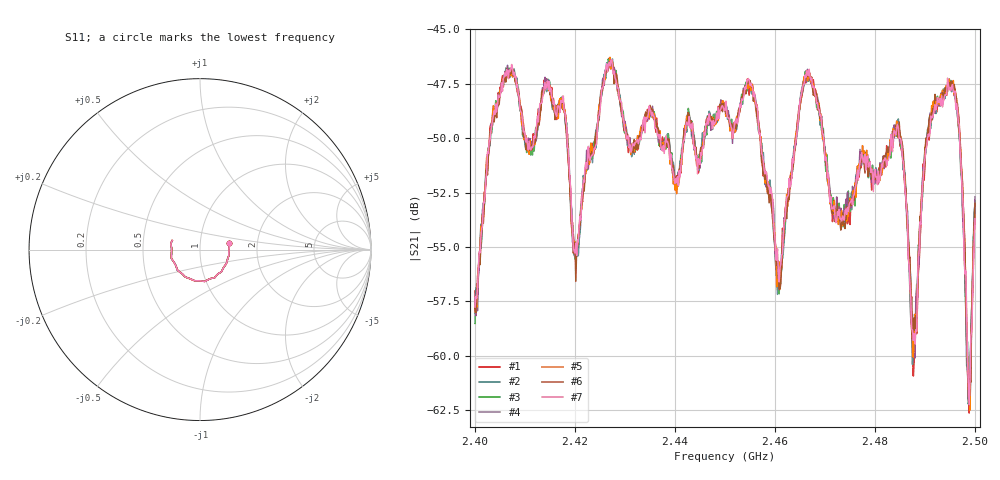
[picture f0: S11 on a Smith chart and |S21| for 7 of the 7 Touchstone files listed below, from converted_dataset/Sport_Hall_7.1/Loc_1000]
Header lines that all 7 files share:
# Hz S RI R 50
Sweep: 2.4 GHz to 2.5 GHz
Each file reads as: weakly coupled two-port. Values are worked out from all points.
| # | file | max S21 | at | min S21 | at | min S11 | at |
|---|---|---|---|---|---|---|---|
| 1 | Lab_139_2Ch1.s2p | -46.33 dB | 2.4268 GHz | -62.6 dB | 2.4988 GHz | -15.6 dB | 2.4928 GHz |
| 2 | Lab_139_3Ch1.s2p | -46.36 dB | 2.4275 GHz | -62.2 dB | 2.4987 GHz | -15.6 dB | 2.4932 GHz |
| 3 | Lab_139_5Ch1.s2p | -46.36 dB | 2.4267 GHz | -62.5 dB | 2.499 GHz | -15.6 dB | 2.4928 GHz |
| 4 | Lab_139_6Ch1.s2p | -46.30 dB | 2.427 GHz | -62.4 dB | 2.499 GHz | -15.6 dB | 2.4928 GHz |
| 5 | Lab_139_7Ch1.s2p | -46.28 dB | 2.427 GHz | -62.5 dB | 2.499 GHz | -15.6 dB | 2.4928 GHz |
| 6 | Lab_139_8Ch1.s2p | -46.41 dB | 2.4272 GHz | -62.3 dB | 2.4988 GHz | -15.6 dB | 2.4928 GHz |
| 7 | Lab_139_10Ch1.s2p | -46.39 dB | 2.4273 GHz | -62.3 dB | 2.4988 GHz | -15.6 dB | 2.4928 GHz |
